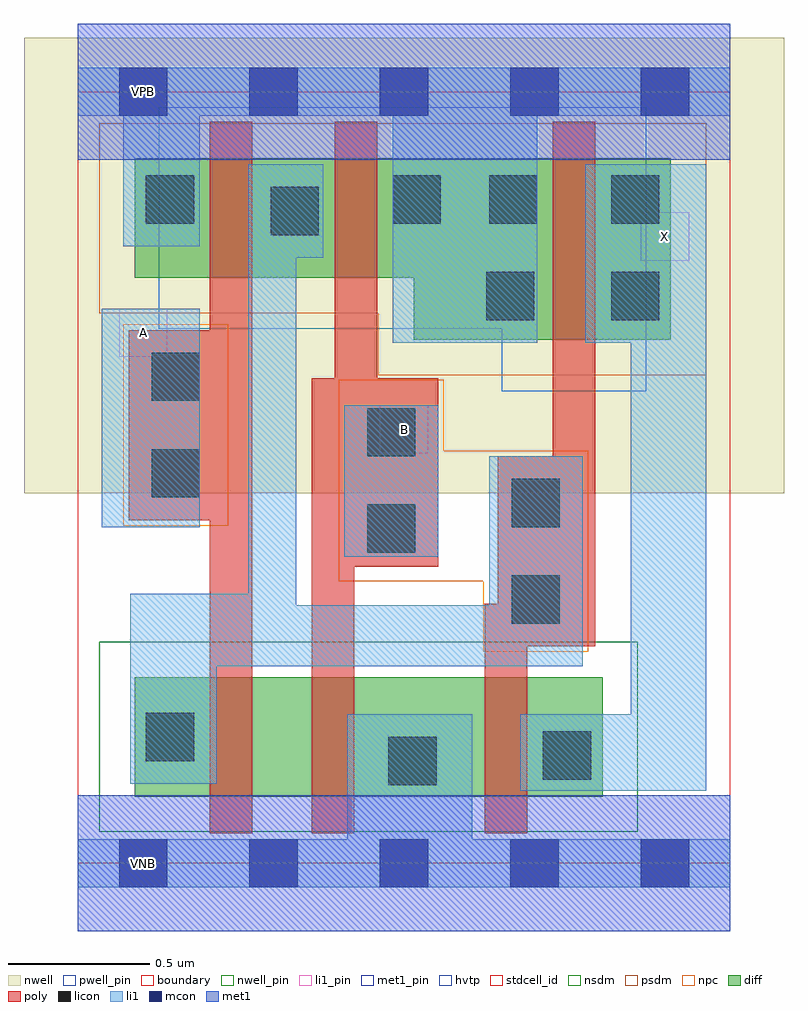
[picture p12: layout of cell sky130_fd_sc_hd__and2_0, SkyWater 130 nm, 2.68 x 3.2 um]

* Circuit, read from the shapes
.subckt sky130_fd_sc_hd__and2_0 A B VGND VNB VPB VPWR X
XM1 n1 A n2 VNB sky130_fd_pr__nfet_01v8 w=0.42 l=0.15
XM2 VGND B n1 VNB sky130_fd_pr__nfet_01v8 w=0.42 l=0.15
XM3 X n2 VGND VNB sky130_fd_pr__nfet_01v8 w=0.42 l=0.15
XM4 n2 A VPWR VPB sky130_fd_pr__pfet_01v8_hvt w=0.42 l=0.15
XM5 VPWR B n2 VPB sky130_fd_pr__pfet_01v8_hvt w=0.42 l=0.15
XM6 X n2 VPWR VPB sky130_fd_pr__pfet_01v8_hvt w=0.64 l=0.15
.ends

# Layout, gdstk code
import gdstk
lib = gdstk.Library(unit=1e-6, precision=1e-09)
def R(c, l, rs):  # rectangles x0, y0, x1, y1
    for r in rs: c.add(gdstk.rectangle(r[:2], r[2:], *l))
def A(c, l, x, y, w, h, nx, ny, dx, dy):  # array of equal rectangles
    R(c, l, [(x+i*dx, y+j*dy, x+i*dx+w, y+j*dy+h) for i in range(nx) for j in range(ny)])
nwell_pin = (64, 16)
nwell = (64, 20)
diff = (65, 20)
poly = (66, 20)
licon = (66, 44)
li1_pin = (67, 16)
li1 = (67, 20)
mcon = (67, 44)
met1_pin = (68, 16)
met1 = (68, 20)
hvtp = (78, 44)
stdcell_id = (81, 4)
nsdm = (93, 44)
psdm = (94, 20)
npc = (95, 20)
pwell_pin = (122, 16)
boundary = (235, 4)

sky130_fd_sc_hd__and2_0 = lib.new_cell('sky130_fd_sc_hd__and2_0')
R(sky130_fd_sc_hd__and2_0, nwell_pin, [(0.145,2.635,0.315,2.805)])
R(sky130_fd_sc_hd__and2_0, nwell, [(-0.19,1.305,2.49,2.91)])
R(sky130_fd_sc_hd__and2_0, diff, [(0.2,0.235,1.85,0.655), (1.185,1.845,2.09,2.065), (0.2,2.065,2.09,2.485)])
R(sky130_fd_sc_hd__and2_0, poly, [(0.465,0.105,0.615,1.21), (0.825,0.105,0.975,1.045), (1.435,0.105,1.585,0.765), (1.435,0.765,1.825,0.915), (1.48,0.915,1.825,1.435), (0.825,1.045,1.27,1.71), (0.18,1.21,0.615,1.88), (1.675,1.435,1.825,2.615), (0.905,1.71,1.055,2.615), (0.465,1.88,0.615,2.615)])
R(sky130_fd_sc_hd__and2_0, licon, [(1.095,0.275,1.265,0.445), (1.64,0.295,1.81,0.465), (0.24,0.36,0.41,0.53), (1.53,0.845,1.7,1.015), (1.02,1.095,1.19,1.265), (1.53,1.185,1.7,1.355), (0.26,1.29,0.43,1.46), (1.02,1.435,1.19,1.605), (0.26,1.63,0.43,1.8), (1.44,1.915,1.61,2.085), (1.88,1.915,2.05,2.085), (0.68,2.215,0.85,2.385), (0.24,2.255,0.41,2.425), (1.11,2.255,1.28,2.425), (1.45,2.255,1.62,2.425), (1.88,2.255,2.05,2.425)])
R(sky130_fd_sc_hd__and2_0, li1_pin, [(1.065,1.445,1.235,1.615), (0.145,1.785,0.315,1.955), (1.985,2.125,2.155,2.295)])
R(sky130_fd_sc_hd__and2_0, li1, [(0,-0.085,2.3,0.085), (0.95,0.085,1.39,0.525), (1.56,0.255,2.215,0.525), (0.185,0.28,0.49,0.695), (1.95,0.525,2.215,1.835), (0.185,0.695,1.78,0.91), (0.185,0.91,0.77,0.95), (1.45,0.91,1.78,1.435), (0.6,0.95,0.77,2.135), (0.94,1.08,1.27,1.615), (0.085,1.185,0.43,1.955), (1.11,1.835,1.62,2.635), (1.79,1.835,2.215,2.465), (0.6,2.135,0.865,2.465), (0.16,2.175,0.43,2.635), (0,2.635,2.3,2.805)])
A(sky130_fd_sc_hd__and2_0, mcon, 0.145, -0.085, 0.17, 0.17, 5, 2, 0.46, 2.72)
R(sky130_fd_sc_hd__and2_0, met1_pin, [(0.145,-0.085,0.315,0.085), (0.145,2.635,0.315,2.805)])
R(sky130_fd_sc_hd__and2_0, met1, [(0,-0.24,2.3,0.24), (0,2.48,2.3,2.96)])
R(sky130_fd_sc_hd__and2_0, hvtp, [(1.495,1.665,2.005,1.885), (0.285,1.885,2.005,2.665)])
R(sky130_fd_sc_hd__and2_0, stdcell_id, [(0,0,2.3,2.72)])
R(sky130_fd_sc_hd__and2_0, nsdm, [(0.075,0.11,1.975,0.78)])
R(sky130_fd_sc_hd__and2_0, psdm, [(1.06,1.72,2.215,1.94), (0.075,1.94,2.215,2.61)])
R(sky130_fd_sc_hd__and2_0, npc, [(1.43,0.745,1.8,0.995), (0.92,0.995,1.8,1.455), (0.16,1.19,0.53,1.9), (0.92,1.455,1.29,1.705)])
R(sky130_fd_sc_hd__and2_0, pwell_pin, [(0.145,-0.085,0.315,0.085)])
R(sky130_fd_sc_hd__and2_0, boundary, [(0,0,2.3,2.72)])
sky130_fd_sc_hd__and2_0.add(gdstk.Label('VNB', (0.23,0), layer=64, texttype=59))
sky130_fd_sc_hd__and2_0.add(gdstk.Label('VPB', (0.23,2.72), layer=64, texttype=5))
sky130_fd_sc_hd__and2_0.add(gdstk.Label('VPWR', (0.23,2.72), layer=68, texttype=5))
sky130_fd_sc_hd__and2_0.add(gdstk.Label('VGND', (0.23,0), layer=68, texttype=5))
sky130_fd_sc_hd__and2_0.add(gdstk.Label('X', (2.07,2.21), layer=67, texttype=5))
sky130_fd_sc_hd__and2_0.add(gdstk.Label('B', (1.15,1.53), layer=67, texttype=5))
sky130_fd_sc_hd__and2_0.add(gdstk.Label('A', (0.23,1.87), layer=67, texttype=5))

lib.write_gds('sky130_fd_sc_hd__and2_0.gds')
